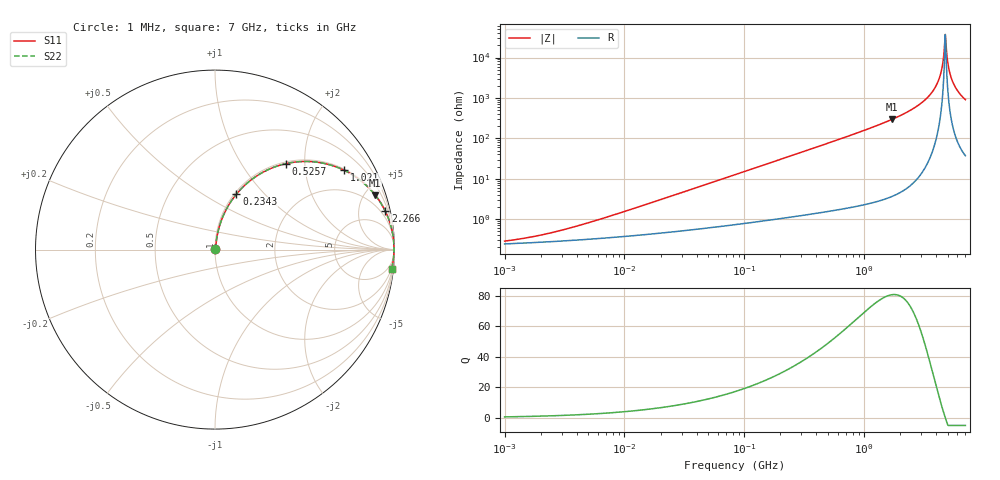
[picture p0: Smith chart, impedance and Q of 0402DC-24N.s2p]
# MHz  S  MA  R  50
!Freq  MagS11  AngS11  MagS21  AngS21  MagS12  AngS12  MagS22  AngS22
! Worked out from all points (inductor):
!   801 points, 1 MHz to 7 GHz, reference 50 ohm
!   read as one part in series: L = 24 nH near 6.786 MHz
!   highest Q = 80.8 at 1.699 GHz (marker M1), where L = 27.5 nH
!   self-resonance near 4.757 GHz
!   S11 on the Smith chart (normalised r, x): 1 MHz: 1.00, +0.00; 234.3 MHz: 1.02, +0.71; 525.7 MHz: 1.03, +1.61; 1.021 GHz: 1.05, +3.23; 2.266 GHz: 1.12, +8.84; 7 GHz: 2, -18
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1  0.002869 31.5  0.9976 -0.1  0.9976 -0.1  0.002869 31.5
4.406943  0.007313 64.6  0.9969 -0.4  0.9969 -0.4  0.007313 64.6
19.20737  0.02917 79.6  0.9951 -1.7  0.9951 -1.7  0.02917 79.6
83.71406  0.1246 79.5  0.985 -7.1  0.985 -7.1  0.1246 79.5
234.3414  0.3308 68.9  0.9334 -19.3  0.9334 -19.3  0.3308 68.9
368.9231  0.4836 59.7  0.8637 -28.9  0.8637 -28.9  0.4836 59.7
525.7263  0.62 50.6  0.7724 -38.3  0.7724 -38.3  0.62 50.6
1021.362  0.8448 31.5  0.5232 -57.6  0.5232 -57.6  0.8448 31.5
1607.927  0.9355 20.0  0.3418 -69.3  0.3418 -69.3  0.9355 20.0
1699.422  0.9431 18.7  0.3211 -70.6  0.3211 -70.6  0.9431 18.7
2266.122  0.9726 12.7  0.2201 -76.5  0.2201 -76.5  0.9726 12.7
3089.435  0.9901 7.1  0.1231 -81.8  0.1231 -81.8  0.9901 7.1
3812.519  0.9958 3.6  0.06219 -84.3  0.06219 -84.3  0.9958 3.6
4258.748  0.9971 1.8  0.03114 -83.7  0.03114 -83.7  0.9971 1.8
4451.537  0.9973 1.1  0.01888 -81.3  0.01888 -81.3  0.9973 1.1
4601.834  0.9974 0.5  0.009819 -74.2  0.009819 -74.2  0.9974 0.5
4757.206  0.9973 0.0  0.002674 -5.3  0.002674 -5.3  0.9973 0.0
4917.823  0.9972 -0.5  0.009387 72.4  0.009387 72.4  0.9972 -0.5
5140.447  0.9969 -1.2  0.02148 81.1  0.02148 81.1  0.9969 -1.2
5493.421  0.9961 -2.3  0.03992 83.2  0.03992 83.2  0.9961 -2.3
6136.389  0.9938 -4.1  0.07105 83.0  0.07105 83.0  0.9938 -4.1
7000  0.9896 -6.2  0.1089 81.4  0.1089 81.4  0.9896 -6.2
